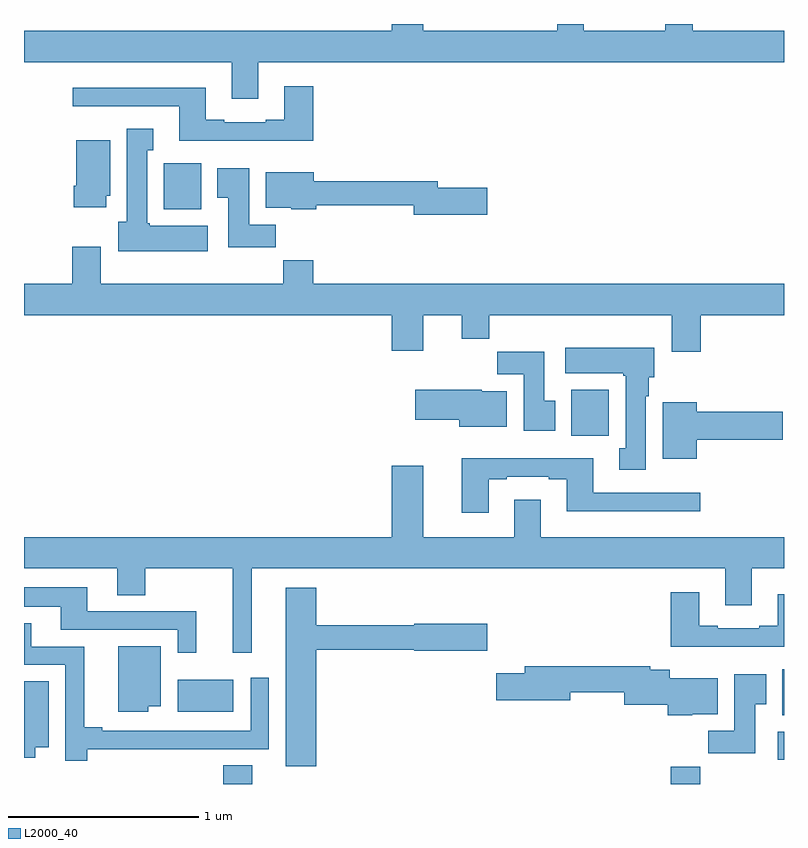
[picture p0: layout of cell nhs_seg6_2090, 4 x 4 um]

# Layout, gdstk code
import gdstk
lib = gdstk.Library(unit=1e-6, precision=1e-09)
def R(c, l, rs):  # rectangles x0, y0, x1, y1
    for r in rs: c.add(gdstk.rectangle(r[:2], r[2:], *l))
def P(c, l, *ps):  # polygons
    for p in ps: c.add(gdstk.Polygon(p, *l))
L2000_40 = (2000, 40)

nhs_seg6_2090 = lib.new_cell('nhs_seg6_2090')
R(nhs_seg6_2090, L2000_40, [(236.048,979.5,236.2,979.598), (238.403,979.5,238.559,979.592), (238.967,979.628,239,979.774), (238.991,979.862,239,980.104), (235.808,979.88,236.101,980.05), (237.881,981.332,238.078,981.574), (235.736,982.526,235.933,982.768)])
P(nhs_seg6_2090, L2000_40, [(236.233,983.3),(239,983.3),(239,983.464),(238.52,983.464),(238.52,983.5),(238.376,983.5),(238.376,983.464),(237.946,983.464),(237.946,983.5),(237.806,983.5),(237.806,983.464),(237.1,983.464),(237.1,983.5),(236.936,983.5),(236.936,983.464),(235,983.464),(235,983.3),(236.093,983.3),(236.093,983.106),(236.233,983.106)],
  [(236.522,983.173),(236.369,983.173),(236.369,982.996),(236.273,982.996),(236.273,982.983),(236.053,982.983),(236.053,982.996),(235.957,982.996),(235.957,983.164),(235.257,983.164),(235.257,983.067),(235.817,983.067),(235.817,982.886),(236.522,982.886)],
  [(235.966,982.438),(235.662,982.438),(235.662,982.452),(235.648,982.452),(235.648,982.835),(235.681,982.835),(235.681,982.948),(235.541,982.948),(235.541,982.458),(235.496,982.458),(235.496,982.304),(235.966,982.304)],
  [(235.432,982.596),(235.453,982.596),(235.453,982.888),(235.274,982.888),(235.274,982.648),(235.262,982.648),(235.262,982.536),(235.432,982.536)],
  [(236.324,982.444),(236.185,982.444),(236.185,982.741),(236.018,982.741),(236.018,982.585),(236.075,982.585),(236.075,982.326),(236.324,982.326)],
  [(237.439,982.637),(237.178,982.637),(237.178,982.673),(236.524,982.673),(236.524,982.72),(236.273,982.72),(236.273,982.532),(236.406,982.532),(236.406,982.526),(236.537,982.526),(236.537,982.545),(237.05,982.545),(237.05,982.495),(237.439,982.495)],
  [(238.562,981.968),(239,981.968),(239,982.132),(236.522,982.132),(236.522,982.256),(236.365,982.256),(236.365,982.132),(235.405,982.132),(235.405,982.327),(235.253,982.327),(235.253,982.132),(235,982.132),(235,981.968),(236.936,981.968),(236.936,981.78),(237.1,981.78),(237.1,981.968),(237.305,981.968),(237.305,981.844),(237.449,981.844),(237.449,981.968),(238.409,981.968),(238.409,981.774),(238.562,981.774)],
  [(238.273,981.542),(238.288,981.542),(238.288,981.642),(238.318,981.642),(238.318,981.796),(237.849,981.796),(237.849,981.662),(238.153,981.662),(238.153,981.649),(238.166,981.649),(238.166,981.266),(238.133,981.266),(238.133,981.153),(238.273,981.153)],
  [(237.796,981.516),(237.739,981.516),(237.739,981.775),(237.49,981.775),(237.49,981.656),(237.629,981.656),(237.629,981.36),(237.796,981.36)],
  [(237.541,981.568),(237.408,981.568),(237.408,981.574),(237.06,981.574),(237.06,981.416),(237.29,981.416),(237.29,981.38),(237.541,981.38)],
  [(238.54,981.311),(238.993,981.311),(238.993,981.458),(238.54,981.458),(238.54,981.508),(238.361,981.508),(238.361,981.212),(238.54,981.212)],
  [(237.445,981.105),(237.541,981.105),(237.541,981.117),(237.761,981.117),(237.761,981.105),(237.857,981.105),(237.857,980.936),(238.558,980.936),(238.558,981.033),(237.997,981.033),(237.997,981.214),(237.305,981.214),(237.305,980.928),(237.445,980.928)],
  [(236.198,980.636),(238.691,980.636),(238.691,980.442),(238.831,980.442),(238.831,980.636),(239,980.636),(239,980.8),(237.721,980.8),(237.721,980.995),(237.581,980.995),(237.581,980.8),(237.1,980.8),(237.1,981.175),(236.936,981.175),(236.936,980.8),(235,980.8),(235,980.636),(235.49,980.636),(235.49,980.494),(235.638,980.494),(235.638,980.636),(236.099,980.636),(236.099,980.19),(236.198,980.19)],
  [(235.907,980.409),(235.333,980.409),(235.333,980.536),(235,980.536),(235,980.432),(235.193,980.432),(235.193,980.313),(235.809,980.313),(235.809,980.19),(235.907,980.19)],
  [(236.537,980.206),(237.054,980.206),(237.054,980.201),(237.439,980.201),(237.439,980.343),(237.054,980.343),(237.054,980.335),(236.537,980.335),(236.537,980.533),(236.378,980.533),(236.378,979.593),(236.537,979.593)],
  [(239,980.5),(238.967,980.5),(238.967,980.332),(238.871,980.332),(238.871,980.319),(238.651,980.319),(238.651,980.332),(238.555,980.332),(238.555,980.509),(238.403,980.509),(238.403,980.222),(239,980.222)],
  [(235.334,979.682),(235.964,979.682),(235.964,979.683),(236.289,979.683),(236.289,980.059),(236.193,980.059),(236.193,979.779),(235.411,979.779),(235.411,979.799),(235.316,979.799),(235.316,980.223),(235.039,980.223),(235.039,980.347),(235,980.347),(235,980.127),(235.218,980.127),(235.218,979.623),(235.334,979.623)],
  [(235.654,979.91),(235.72,979.91),(235.72,980.224),(235.496,980.224),(235.496,979.88),(235.654,979.88)],
  [(238.518,979.868),(238.651,979.868),(238.651,980.056),(238.399,980.056),(238.399,980.101),(238.295,980.101),(238.295,980.12),(237.635,980.12),(237.635,980.084),(237.486,980.084),(237.486,979.942),(237.874,979.942),(237.874,979.984),(238.16,979.984),(238.16,979.916),(238.388,979.916),(238.388,979.862),(238.518,979.862)],
  [(238.849,979.921),(238.906,979.921),(238.906,980.077),(238.739,980.077),(238.739,979.78),(238.6,979.78),(238.6,979.662),(238.849,979.662)],
  [(235.06,979.694),(235.129,979.694),(235.129,980.042),(235,980.042),(235,979.637),(235.06,979.637)])

lib.write_gds('nhs_seg6_2090.gds')
